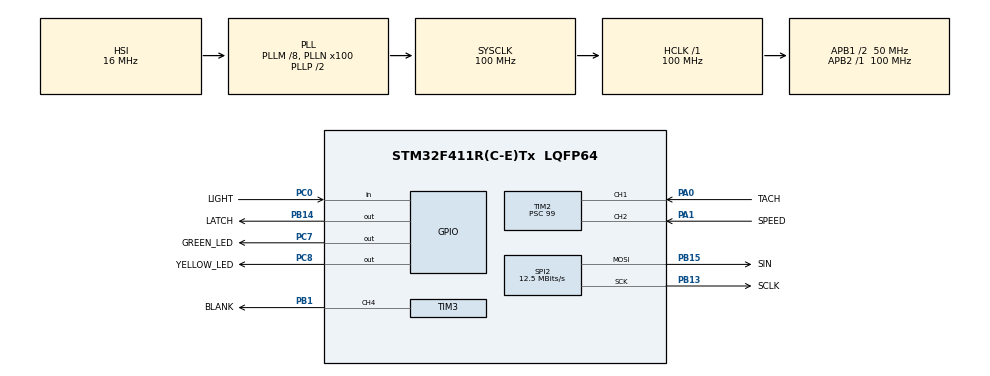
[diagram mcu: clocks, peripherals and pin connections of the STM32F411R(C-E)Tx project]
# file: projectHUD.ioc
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FREERTOS.Queues01=displayQueue,4,uint32_t,0,Dynamic,NULL,NULL
FREERTOS.Tasks01=inputTask,24,1024,StartInputTask,Default,NULL,Dynamic,NULL,NULL;displayTask,16,1024,StartDisplayTask,Default,NULL,Dynamic,NULL,NULL
FREERTOS.configUSE_NEWLIB_REENTRANT=1
Mcu.Family=STM32F4
Mcu.Name=STM32F411R(C-E)Tx
Mcu.Package=LQFP64
NVIC.PriorityGroup=NVIC_PRIORITYGROUP_4
NVIC.TIM1_TRG_COM_TIM11_IRQn=true\:15\:0\:false\:false\:true\:false\:false\:true\:true
NVIC.TIM2_IRQn=true\:5\:0\:false\:false\:true\:true\:true\:true\:true
NVIC.TimeBase=TIM1_TRG_COM_TIM11_IRQn
NVIC.TimeBaseIP=TIM11
PA0-WKUP.GPIO_Label=TACH
PA0-WKUP.GPIO_PuPd=GPIO_PULLUP
PA0-WKUP.Signal=S_TIM2_CH1_ETR
PA1.GPIO_Label=SPEED
PA1.GPIO_PuPd=GPIO_PULLUP
PA1.Signal=S_TIM2_CH2
PA13.GPIO_Label=SWDIO
PA13.Mode=Trace_Asynchronous_SW
PA13.Signal=SYS_JTMS-SWDIO
PA14.GPIO_Label=SWCLK
PA14.Mode=Trace_Asynchronous_SW
PA14.Signal=SYS_JTCK-SWCLK
PB1.GPIO_Label=BLANK
PB1.GPIO_PuPd=GPIO_PULLUP
PB1.Signal=S_TIM3_CH4
PB13.GPIO_Label=SCLK
PB13.Mode=TX_Only_Simplex_Unidirect_Master
PB13.Signal=SPI2_SCK
PB14.GPIO_Label=LATCH
PB14.Signal=GPIO_Output
PB15.GPIO_Label=SIN
PB15.Mode=TX_Only_Simplex_Unidirect_Master
PB15.Signal=SPI2_MOSI
PB3.GPIO_Label=SWO
PB3.Mode=Trace_Asynchronous_SW
PB3.Signal=SYS_JTDO-SWO
PC0.GPIO_Label=LIGHT
PC0.GPIO_PuPd=GPIO_PULLUP
PC0.Signal=GPIO_Input
PC7.GPIO_Label=GREEN_LED
PC7.PinState=GPIO_PIN_RESET
PC7.Signal=GPIO_Output
PC8.GPIO_Label=YELLOW_LED
PC8.Signal=GPIO_Output
ProjectManager.HeapSize=0x200
ProjectManager.StackSize=0x400
ProjectManager.TargetToolchain=STM32CubeIDE
RCC.48MHZClocksFreq_Value=50000000
RCC.AHBFreq_Value=100000000
RCC.APB1CLKDivider=RCC_HCLK_DIV2
RCC.APB1Freq_Value=50000000
RCC.APB1TimFreq_Value=100000000
RCC.APB2Freq_Value=100000000
RCC.APB2TimFreq_Value=100000000
RCC.CortexFreq_Value=100000000
RCC.HCLKFreq_Value=100000000
RCC.HSE_VALUE=25000000
RCC.HSI_VALUE=16000000
RCC.LSE_VALUE=32768
RCC.PLLM=8
RCC.PLLN=100
RCC.SYSCLKFreq_VALUE=100000000
RCC.SYSCLKSource=RCC_SYSCLKSOURCE_PLLCLK
RCC.VCOOutputFreq_Value=200000000
SH.S_TIM2_CH1_ETR.0=TIM2_CH1,Input_Capture1_from_TI1
SH.S_TIM2_CH2.0=TIM2_CH2,Input_Capture2_from_TI2
SH.S_TIM3_CH4.0=TIM3_CH4,PWM Generation4 CH4
SPI2.BaudRatePrescaler=SPI_BAUDRATEPRESCALER_4
SPI2.CalculateBaudRate=12.5 MBits/s
SPI2.Direction=SPI_DIRECTION_2LINES
SPI2.Mode=SPI_MODE_MASTER
SPI2.VirtualType=VM_MASTER
TIM2.Channel-Input_Capture1_from_TI1=TIM_CHANNEL_1
TIM2.Channel-Input_Capture2_from_TI2=TIM_CHANNEL_2
TIM2.ICFilter_CH1=0x0F
TIM2.ICFilter_CH2=0x0F
TIM2.Period=0xFFFFFFFF
TIM2.Prescaler=99
TIM3.Channel-PWM\ Generation4\ CH4=TIM_CHANNEL_4
TIM3.Period=3999
TIM3.Prescaler=0
VP_FREERTOS_VS_CMSIS_V2.Mode=CMSIS_V2
VP_SYS_VS_tim11.Mode=TIM11
VP_TIM2_VS_ClockSourceINT.Mode=Internal
VP_TIM3_VS_ClockSourceINT.Mode=Internal
board=custom

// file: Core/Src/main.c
/* USER CODE BEGIN Header */
/**
  ******************************************************************************
  * @file           : main.c
  * @brief          : Main program body
  ******************************************************************************
  * @attention
  *
  * Copyright (c) 2026 STMicroelectronics.
  * All rights reserved.
  *
  * This software is licensed under terms that can be found in the LICENSE file
  * in the root directory of this software component.
  * If no LICENSE file comes with this software, it is provided AS-IS.
  *
  ******************************************************************************
  */
/* USER CODE END Header */
#include "main.h"
#include "cmsis_os.h"

/* USER CODE BEGIN Includes */
#include <math.h>
#include <stdlib.h>

/* USER CODE END Includes */

/* USER CODE BEGIN PD */
#define MOVING_AVG_ELEMENTS 10
// input processing constants
#define PERIOD_TIMEOUT 1000000UL // maximum period of 1 second between pulses
#define PERIOD_DEBOUNCE 100000UL // debounce amount for deadband; 10% of timeout period
#define TACH_MAX_PERIOD 100000UL // min 300 RPM
#define SPEED_MAX_PERIOD 725159UL // min 2 km/h speed
#define SPEED_HYST 0.8f // speed deadband: output value is sticky within ±0.7 km/h
#define TACH_HYST 60 // tach deadband: output value is sticky within ±60 RPM
#define UPPER_PERIOD 50000UL // pulse periods above this -> 1 sample (fast response)
#define LOWER_PERIOD 10000UL // pulse periods below this -> 10 samples (heavy filtering)

// display constants
#define DISPLAY_ORIENTATION 1 // 0 = normal display orientation, 1 = flipped
#define TLC_CHANNELS 48 // two daisy-chained TLC5947s, 24 channels each
#define TLC_BYTES 72 // 48 channels x 12 bits / 8
#define BLANK_DIGIT 10 // index into segment table for a blank digit
#define PWM_BRIGHT 80 // BLANK duty for high brightness
#define PWM_DARK 4.5 // BLANK duty for reduced brightness
#define NUM_SEGMENTS 7 // 7 segments per display
#define NUM_DIGITS 5 // 3 for speed, 2 for tach
#define PWM_PERIOD 4000 // 25 KHz PWM

#define PWM_DUTY(pct) ((uint32_t)(pct) * (PWM_PERIOD / 100)) // convert percent to timer period

// frame passed from input task to display task, packed into one 32-bit queue item
// bits 0-9: speed, bits 10-16: rpm hundreds, bit 17: night flag
#define FRAME_PACK(spd, rpm, night) (((uint32_t)(night) << 17) | ((uint32_t)(rpm) << 10) | (spd))
#define FRAME_SPEED(f) ((f) & 0x3FF)
#define FRAME_RPM(f) (((f) >> 10) & 0x7F)
#define FRAME_DARK(f) (((f) >> 17) & 1)

/* USER CODE END PD */

SPI_HandleTypeDef hspi2;

TIM_HandleTypeDef htim2;
TIM_HandleTypeDef htim3;

/* Definitions for inputTask */
osThreadId_t inputTaskHandle;
const osThreadAttr_t inputTask_attributes = {
  .name = "inputTask",
  .stack_size = 1024 * 4,
  .priority = (osPriority_t) osPriorityNormal,
};
/* Definitions for displayTask */
osThreadId_t displayTaskHandle;
const osThreadAttr_t displayTask_attributes = {
  .name = "displayTask",
  .stack_size = 1024 * 4,
  .priority = (osPriority_t) osPriorityBelowNormal,
};
/* Definitions for displayQueue */
osMessageQueueId_t displayQueueHandle;
const osMessageQueueAttr_t displayQueue_attributes = {
  .name = "displayQueue"
};
/* USER CODE BEGIN PV */
volatile uint32_t prevTachCaptureValue = 0;
volatile uint32_t tachPeriods[MOVING_AVG_ELEMENTS]; // circular buffer of pulse periods in µs
volatile uint8_t tachIdx = 0;

volatile uint32_t prevSpeedCaptureValue = 0;
volatile uint32_t speedPeriods[MOVING_AVG_ELEMENTS];
volatile uint8_t speedIdx = 0;

// bit order (dp)gfedcba, bit 0 = segment a
// row = display positions 0-4, column = number 0-9 + blank number
// positions 2 & 3 (displays 3 & 4) are physically rotated 180° - hard coded into tables
// normal orientation lookup table
static const uint8_t SEG_NORMAL[11] = {
  0x3F,0x30,0x5B,0x79,0x74,0x6D,0x6F,0x38,0x7F,0x7D,0x00 // rotated 180
};

// windshield orientation lookup table
static const uint8_t SEG_FLIPPED[11] = {
  0x3F,0x30,0x6D,0x79,0x72,0x5B,0x5F,0x31,0x7F,0x7B,0x00 // rotated 180 + vertically flipped
};

// first global TLC channel of each digit, from schematic:
// U7 = channels 0-23 (speed), U8 = channels 24-47 (tach)
// digit 0-2 = LED1-LED3 (speed hundreds, tens, ones), digit 3-4 = LED4-LED5 (rpm)
static const uint8_t DIGIT_BASE[NUM_DIGITS] = {0, 8, 16, 24, 32};
/* USER CODE END PV */

void SystemClock_Config(void);
static void MX_GPIO_Init(void);
static void MX_SPI2_Init(void);
static void MX_TIM2_Init(void);
static void MX_TIM3_Init(void);
void StartInputTask(void *argument);
void StartDisplayTask(void *argument);

/* USER CODE BEGIN 0 */
// maps the most recent pulse period to an variable window size. period >= 50 ms -> 1 sample, period <= 10 ms -> 10 samples, linear in between
static uint8_t getWindowFromPeriod(uint32_t period) {
	if (period >= UPPER_PERIOD) return 1;
	if (period <= LOWER_PERIOD) return MOVING_AVG_ELEMENTS;
	// linear interpolation, maps period to a number from 1 to 10 based on its value compared to upper and lower period
	return (uint8_t)((((UPPER_PERIOD - period) * (MOVING_AVG_ELEMENTS - 1)) / (UPPER_PERIOD - LOWER_PERIOD)) + 1);
}

void HAL_TIM_IC_CaptureCallback(TIM_HandleTypeDef *htim) {
	if (htim->Channel == HAL_TIM_ACTIVE_CHANNEL_1) {
		// read current timer value (triggered on a GPIO edge)
		uint32_t tachCaptureValue = HAL_TIM_ReadCapturedValue(htim, TIM_CHANNEL_1);
		uint32_t delta = tachCaptureValue - prevTachCaptureValue;
		// clamp first pulse after idling for a while
		if (delta > PERIOD_TIMEOUT) delta = PERIOD_TIMEOUT;
		// circular buffer, replaces oldest period with most recent
		tachPeriods[tachIdx] = delta;
		// increment tachIdx, wrap back to 0 if it reaches 10
		tachIdx = (tachIdx + 1) % MOVING_AVG_ELEMENTS;
		// refresh value
		prevTachCaptureValue = tachCaptureValue;
		HAL_GPIO_TogglePin(GPIOC, YELLOW_LED_Pin); // blinky
	}
	if (htim->Channel == HAL_TIM_ACTIVE_CHANNEL_2) {
		// read current timer value (triggered on a GPIO edge)
		uint32_t speedCaptureValue = HAL_TIM_ReadCapturedValue(htim, TIM_CHANNEL_2);
		uint32_t delta = speedCaptureValue - prevSpeedCaptureValue;
		// clamp first pulse after idling for a while
		if (delta > PERIOD_TIMEOUT) delta = PERIOD_TIMEOUT;
		speedPeriods[speedIdx] = delta;
		// increment speedIdx, wrap back to 0 if it reaches 10
		speedIdx = (speedIdx + 1) % MOVING_AVG_ELEMENTS;
		// refresh value
		prevSpeedCaptureValue = speedCaptureValue;
		HAL_GPIO_TogglePin(GPIOC, GREEN_LED_Pin); // blinky
	}
}
/* USER CODE END 0 */

int main(void)
{

  /* MCU Configuration--------------------------------------------------------*/

  /* Reset of all peripherals, Initializes the Flash interface and the Systick. */
  HAL_Init();

  /* Configure the system clock */
  SystemClock_Config();

  /* Initialize all configured peripherals */
  MX_GPIO_Init();
  MX_SPI2_Init();
  MX_TIM2_Init();
  MX_TIM3_Init();
  /* USER CODE BEGIN 2 */
  // set periods to infinity on boot
  for (uint8_t i = 0; i < MOVING_AVG_ELEMENTS; i++) {
	  tachPeriods[i] = PERIOD_TIMEOUT;
	  speedPeriods[i] = PERIOD_TIMEOUT;
  }
  HAL_TIM_IC_Start_IT(&htim2, TIM_CHANNEL_1); // start input capture for tach input
  HAL_TIM_IC_Start_IT(&htim2, TIM_CHANNEL_2); // start input capture for speed input
  HAL_TIM_PWM_Start(&htim3, TIM_CHANNEL_4); // start PWM output on BLANK pin
  /* USER CODE END 2 */

  /* Init scheduler */
  osKernelInitialize();

  /* Create the queue(s) */
  /* creation of displayQueue */
  displayQueueHandle = osMessageQueueNew (4, sizeof(uint32_t), &displayQueue_attributes);

  /* Create the thread(s) */
  /* creation of inputTask */
  inputTaskHandle = osThreadNew(StartInputTask, NULL, &inputTask_attributes);

  /* creation of displayTask */
  displayTaskHandle = osThreadNew(StartDisplayTask, NULL, &displayTask_attributes);

  /* Start scheduler */
  osKernelStart();

  /* We should never get here as control is now taken by the scheduler */

  /* Infinite loop */
  while (1)
  {

  }
}

void SystemClock_Config(void)
{
  RCC_OscInitTypeDef RCC_OscInitStruct = {0};
  RCC_ClkInitTypeDef RCC_ClkInitStruct = {0};

  /** Configure the main internal regulator output voltage
  */
  __HAL_RCC_PWR_CLK_ENABLE();
  __HAL_PWR_VOLTAGESCALING_CONFIG(PWR_REGULATOR_VOLTAGE_SCALE1);

  /** Initializes the RCC Oscillators according to the specified parameters
  * in the RCC_OscInitTypeDef structure.
  */
  RCC_OscInitStruct.OscillatorType = RCC_OSCILLATORTYPE_HSI;
  RCC_OscInitStruct.HSIState = RCC_HSI_ON;
  RCC_OscInitStruct.HSICalibrationValue = RCC_HSICALIBRATION_DEFAULT;
  RCC_OscInitStruct.PLL.PLLState = RCC_PLL_ON;
  RCC_OscInitStruct.PLL.PLLSource = RCC_PLLSOURCE_HSI;
  RCC_OscInitStruct.PLL.PLLM = 8;
  RCC_OscInitStruct.PLL.PLLN = 100;
  RCC_OscInitStruct.PLL.PLLP = RCC_PLLP_DIV2;
  RCC_OscInitStruct.PLL.PLLQ = 4;
  if (HAL_RCC_OscConfig(&RCC_OscInitStruct) != HAL_OK)
  {
    Error_Handler();
  }

  /** Initializes the CPU, AHB and APB buses clocks
  */
  RCC_ClkInitStruct.ClockType = RCC_CLOCKTYPE_HCLK|RCC_CLOCKTYPE_SYSCLK
                              |RCC_CLOCKTYPE_PCLK1|RCC_CLOCKTYPE_PCLK2;
  RCC_ClkInitStruct.SYSCLKSource = RCC_SYSCLKSOURCE_PLLCLK;
  RCC_ClkInitStruct.AHBCLKDivider = RCC_SYSCLK_DIV1;
  RCC_ClkInitStruct.APB1CLKDivider = RCC_HCLK_DIV2;
  RCC_ClkInitStruct.APB2CLKDivider = RCC_HCLK_DIV1;

  if (HAL_RCC_ClockConfig(&RCC_ClkInitStruct, FLASH_LATENCY_3) != HAL_OK)
  {
    Error_Handler();
  }
}

static void MX_SPI2_Init(void)
{

  /* SPI2 parameter configuration*/
  hspi2.Instance = SPI2;
  hspi2.Init.Mode = SPI_MODE_MASTER;
  hspi2.Init.Direction = SPI_DIRECTION_2LINES;
  hspi2.Init.DataSize = SPI_DATASIZE_8BIT;
  hspi2.Init.CLKPolarity = SPI_POLARITY_LOW;
  hspi2.Init.CLKPhase = SPI_PHASE_1EDGE;
  hspi2.Init.NSS = SPI_NSS_SOFT;
  hspi2.Init.BaudRatePrescaler = SPI_BAUDRATEPRESCALER_4;
  hspi2.Init.FirstBit = SPI_FIRSTBIT_MSB;
  hspi2.Init.TIMode = SPI_TIMODE_DISABLE;
  hspi2.Init.CRCCalculation = SPI_CRCCALCULATION_DISABLE;
  hspi2.Init.CRCPolynomial = 10;
  if (HAL_SPI_Init(&hspi2) != HAL_OK)
  {
    Error_Handler();
  }

}

static void MX_TIM2_Init(void)
{

  TIM_ClockConfigTypeDef sClockSourceConfig = {0};
  TIM_MasterConfigTypeDef sMasterConfig = {0};
  TIM_IC_InitTypeDef sConfigIC = {0};

  htim2.Instance = TIM2;
  htim2.Init.Prescaler = 99;
  htim2.Init.CounterMode = TIM_COUNTERMODE_UP;
  htim2.Init.Period = 0xFFFFFFFF;
  htim2.Init.ClockDivision = TIM_CLOCKDIVISION_DIV1;
  htim2.Init.AutoReloadPreload = TIM_AUTORELOAD_PRELOAD_DISABLE;
  if (HAL_TIM_Base_Init(&htim2) != HAL_OK)
  {
    Error_Handler();
  }
  sClockSourceConfig.ClockSource = TIM_CLOCKSOURCE_INTERNAL;
  if (HAL_TIM_ConfigClockSource(&htim2, &sClockSourceConfig) != HAL_OK)
  {
    Error_Handler();
  }
  if (HAL_TIM_IC_Init(&htim2) != HAL_OK)
  {
    Error_Handler();
  }
  sMasterConfig.MasterOutputTrigger = TIM_TRGO_RESET;
  sMasterConfig.MasterSlaveMode = TIM_MASTERSLAVEMODE_DISABLE;
  if (HAL_TIMEx_MasterConfigSynchronization(&htim2, &sMasterConfig) != HAL_OK)
  {
    Error_Handler();
  }
  sConfigIC.ICPolarity = TIM_INPUTCHANNELPOLARITY_RISING;
  sConfigIC.ICSelection = TIM_ICSELECTION_DIRECTTI;
  sConfigIC.ICPrescaler = TIM_ICPSC_DIV1;
  sConfigIC.ICFilter = 0x0F;
  if (HAL_TIM_IC_ConfigChannel(&htim2, &sConfigIC, TIM_CHANNEL_1) != HAL_OK)
  {
    Error_Handler();
  }
  if (HAL_TIM_IC_ConfigChannel(&htim2, &sConfigIC, TIM_CHANNEL_2) != HAL_OK)
  {
    Error_Handler();
  }

}

static void MX_TIM3_Init(void)
{

  TIM_ClockConfigTypeDef sClockSourceConfig = {0};
  TIM_MasterConfigTypeDef sMasterConfig = {0};
  TIM_OC_InitTypeDef sConfigOC = {0};

  htim3.Instance = TIM3;
  htim3.Init.Prescaler = 0;
  htim3.Init.CounterMode = TIM_COUNTERMODE_UP;
  htim3.Init.Period = 3999;
  htim3.Init.ClockDivision = TIM_CLOCKDIVISION_DIV1;
  htim3.Init.AutoReloadPreload = TIM_AUTORELOAD_PRELOAD_DISABLE;
  if (HAL_TIM_Base_Init(&htim3) != HAL_OK)
  {
    Error_Handler();
  }
  sClockSourceConfig.ClockSource = TIM_CLOCKSOURCE_INTERNAL;
  if (HAL_TIM_ConfigClockSource(&htim3, &sClockSourceConfig) != HAL_OK)
  {
    Error_Handler();
  }
  if (HAL_TIM_PWM_Init(&htim3) != HAL_OK)
  {
    Error_Handler();
  }
  sMasterConfig.MasterOutputTrigger = TIM_TRGO_RESET;
  sMasterConfig.MasterSlaveMode = TIM_MASTERSLAVEMODE_DISABLE;
  if (HAL_TIMEx_MasterConfigSynchronization(&htim3, &sMasterConfig) != HAL_OK)
  {
    Error_Handler();
  }
  sConfigOC.OCMode = TIM_OCMODE_PWM1;
  sConfigOC.Pulse = 0;
  sConfigOC.OCPolarity = TIM_OCPOLARITY_HIGH;
  sConfigOC.OCFastMode = TIM_OCFAST_DISABLE;
  if (HAL_TIM_PWM_ConfigChannel(&htim3, &sConfigOC, TIM_CHANNEL_4) != HAL_OK)
  {
    Error_Handler();
  }
  HAL_TIM_MspPostInit(&htim3);

}

static void MX_GPIO_Init(void)
{
  GPIO_InitTypeDef GPIO_InitStruct = {0};

  /* GPIO Ports Clock Enable */
  __HAL_RCC_GPIOC_CLK_ENABLE();
  __HAL_RCC_GPIOA_CLK_ENABLE();
  __HAL_RCC_GPIOB_CLK_ENABLE();

  /*Configure GPIO pin Output Level */
  HAL_GPIO_WritePin(LATCH_GPIO_Port, LATCH_Pin, GPIO_PIN_RESET);

  /*Configure GPIO pin Output Level */
  HAL_GPIO_WritePin(GPIOC, GREEN_LED_Pin|YELLOW_LED_Pin, GPIO_PIN_RESET);

  /*Configure GPIO pin : LIGHT_Pin */
  GPIO_InitStruct.Pin = LIGHT_Pin;
  GPIO_InitStruct.Mode = GPIO_MODE_INPUT;
  GPIO_InitStruct.Pull = GPIO_PULLUP;
  HAL_GPIO_Init(LIGHT_GPIO_Port, &GPIO_InitStruct);

  /*Configure GPIO pin : LATCH_Pin */
  GPIO_InitStruct.Pin = LATCH_Pin;
  GPIO_InitStruct.Mode = GPIO_MODE_OUTPUT_PP;
  GPIO_InitStruct.Pull = GPIO_NOPULL;
  GPIO_InitStruct.Speed = GPIO_SPEED_FREQ_LOW;
  HAL_GPIO_Init(LATCH_GPIO_Port, &GPIO_InitStruct);

  /*Configure GPIO pins : GREEN_LED_Pin YELLOW_LED_Pin */
  GPIO_InitStruct.Pin = GREEN_LED_Pin|YELLOW_LED_Pin;
  GPIO_InitStruct.Mode = GPIO_MODE_OUTPUT_PP;
  GPIO_InitStruct.Pull = GPIO_NOPULL;
  GPIO_InitStruct.Speed = GPIO_SPEED_FREQ_LOW;
  HAL_GPIO_Init(GPIOC, &GPIO_InitStruct);

}

void StartInputTask(void *argument)
{
  /* USER CODE BEGIN 5 */
	const uint8_t PULSE_PER_REV = 2; // tachometer pulses per crankshaft revolution
	const float PULSE_PER_KILO = 2482.215342f; // calculated from 72158 pulses / 29.07 km
	const uint16_t RPM_LIMIT = 6500; // 6500 RPM engine redline
	const float SPEED_LIMIT = 200.0f; // 200 km/h max speed on this display
	const uint32_t MICROS_PER_SEC = 1000000;
	const uint8_t SEC_PER_MIN = 60;
	const uint16_t SEC_PER_HOUR = 3600;

	uint32_t tachOutput = 0;
	uint32_t speedOutput = 0;
	uint32_t tachTimeoutDebounce = 0;
	uint32_t speedTimeoutDebounce = 0;

  /* Infinite loop */
  for(;;)
{
	uint32_t frame = 0; // stores this loop's frame data
	uint32_t tachAverage = 0;
	uint32_t speedAverage = 0;
	uint8_t isDark = 0; // headlights on/off flag
	uint8_t isTachZero = 0;
	uint8_t isSpeedZero = 0;

	// save a local copy of the volatile indices from the ISR (in case it changes mid loop)
	uint8_t tachIdxTemp = tachIdx;
	uint8_t speedIdxTemp = speedIdx;
	// get the latest period reading from the ISR, it's one element behind the current index. modulo to reset back to 0 if >9
	uint32_t tachLatestPeriod = tachPeriods[(tachIdxTemp + MOVING_AVG_ELEMENTS - 1) % MOVING_AVG_ELEMENTS];
	uint32_t speedLatestPeriod = speedPeriods[(speedIdxTemp + MOVING_AVG_ELEMENTS - 1) % MOVING_AVG_ELEMENTS];
	// get window size based on most recent period
	uint8_t tachWindowSize = getWindowFromPeriod(tachLatestPeriod);
	uint8_t speedWindowSize = getWindowFromPeriod(speedLatestPeriod);

	// average only the most recent x samples, averaging backwards in the array from the current temp index
	for (uint8_t windowIncrement = 0; windowIncrement < tachWindowSize; windowIncrement++) {
		// get period of each element of tachPeriods[] array and sum into average, starting at temp index and working backwards
		// index sweeps between 0 and 18, modulo loops it to 0 and 9
		uint32_t currentPeriod = tachPeriods[(tachIdxTemp + MOVING_AVG_ELEMENTS - 1 - windowIncrement) % MOVING_AVG_ELEMENTS];
		tachAverage += currentPeriod;
	}
	for (uint8_t windowIncrement = 0; windowIncrement < speedWindowSize; windowIncrement++) {
		// get period of each element of speedPeriods[] array and sum into average, starting at temp index and working backwards
		// index sweeps between 0 and 18, modulo loops it to 0 and 9
		uint32_t currentPeriod = speedPeriods[(speedIdxTemp + MOVING_AVG_ELEMENTS - 1 - windowIncrement) % MOVING_AVG_ELEMENTS];
		speedAverage += currentPeriod;
	}
	// average sums over the active window
	tachAverage /= tachWindowSize;
	speedAverage /= speedWindowSize;

	// set output to zero at low enough speeds
	// get current timer value
	uint32_t currentTime = __HAL_TIM_GET_COUNTER(&htim2);
	// if period is large enough, set display to output zero
	if ((currentTime - prevTachCaptureValue) > (PERIOD_TIMEOUT - tachTimeoutDebounce)) {
		isTachZero = 1;
		// include a debounce so the value doesn't jump between 0 and a number when the period is right on the threshold
		tachTimeoutDebounce = PERIOD_DEBOUNCE;
		// load entire array with a PERIOD_TIMEOUT; means when restarting at a low speed, the value doesn't jump up randomly before settling
		for (uint8_t i = 0; i < MOVING_AVG_ELEMENTS; i++) tachPeriods[i] = PERIOD_TIMEOUT;
	} else { // otherwise resume normal operation
		isTachZero = 0;
		tachTimeoutDebounce = 0;
	}
	// if period is large enough, set display to output zero
	if ((currentTime - prevSpeedCaptureValue) > (PERIOD_TIMEOUT - speedTimeoutDebounce)) {
		isSpeedZero = 1;
		// include a debounce so the value doesn't jump between 0 and a number when the period is right on the threshold
		speedTimeoutDebounce = PERIOD_DEBOUNCE;
		// load entire array with a PERIOD_TIMEOUT; means when restarting at a low speed, the value doesn't jump up randomly before settling
		for (uint8_t i = 0; i < MOVING_AVG_ELEMENTS; i++) speedPeriods[i] = PERIOD_TIMEOUT;
	} else { // otherwise resume normal operation
		isSpeedZero = 0;
		speedTimeoutDebounce = 0;
	}

	// protect against divide by zero
	if (tachAverage == 0) tachAverage = 1;
	if (speedAverage == 0) speedAverage = 1;

	// tach calculation: (µs/min) / (µs/pulse × pulse/rotation) = rotations/min
	uint32_t tachRaw = ((SEC_PER_MIN * MICROS_PER_SEC) / (tachAverage * PULSE_PER_REV));
	// speed calculation: (µs/hour) / (µs/pulse × pulses/km) = km/h
	float speedRaw = (float)(SEC_PER_HOUR * MICROS_PER_SEC) / ((float)speedAverage * PULSE_PER_KILO);

	// if flagged as zero or if average is more than max period, set output to 0
	if (isTachZero || (tachAverage > TACH_MAX_PERIOD)) {
		tachOutput = 0;
	} else if (tachRaw < RPM_LIMIT) { // if normal operating condition:
		// display hysteresis: displayed value only re-rounds once raw value exits TACH_HYST threshold
		uint32_t tachDiff = labs((int32_t)tachRaw - (int32_t)tachOutput);
		if (tachDiff >= TACH_HYST) {
			tachOutput = ((tachRaw + 50) / 100) * 100; // round to nearest hundred; +50 ensures nearest hundred rather than floor
		}
	} else { // clamp at max value if beyond it
		tachOutput = RPM_LIMIT;
	}
	// if flagged as zero or if average is more than max period, set output to 0
	if (isSpeedZero || (speedAverage > SPEED_MAX_PERIOD)) {
		speedOutput = 0;
	} else if (speedRaw < SPEED_LIMIT) {
		// display hysteresis: displayed value only re-rounds once raw value exits SPEED_HYST threshold
		float speedDiff = fabsf(speedRaw - (float)speedOutput);
		if (speedDiff >= SPEED_HYST) {
			speedOutput = (uint32_t)(speedRaw + 0.5f); // +0.5f ensures nearest ones digit rather than floor
		}
	} else { // clamp at max value if beyond it
		speedOutput = (uint32_t)SPEED_LIMIT;
	}

	// headlight input is low when headlights are on -> dim LEDs by triggering isDark flag
	isDark = (HAL_GPIO_ReadPin(LIGHT_GPIO_Port, LIGHT_Pin) == GPIO_PIN_RESET);

	// assemble frame
	frame = FRAME_PACK(speedOutput, (tachOutput / 100), isDark);
	// set frame to 0 if displayQueue is full
	osMessageQueuePut(displayQueueHandle, &frame, 0, 0);
    osDelay(50); // 20 Hz
  }
  /* USER CODE END 5 */
}

void StartDisplayTask(void *argument)
{
  /* USER CODE BEGIN StartDisplayTask */
	uint32_t frame = 0;
	uint16_t speed = 0;
	uint16_t rpm = 0;
	uint8_t segState[TLC_CHANNELS] = {0}; // array containing on/off state of every TLC output
	uint8_t digits[NUM_DIGITS] = {0}; // array containing value 0 to 9 of each digit
	uint8_t tlcBuffer[TLC_BYTES] = {0};

  /* Infinite loop */
  for(;;)
  {
	// wait for new frame update from inputTask. once arrived, load into frame variable and continue
	if (osMessageQueueGet(displayQueueHandle, &frame, NULL, osWaitForever) != osOK) {
		continue;
	}
	// extract speed and rpm from latest frame
	speed = FRAME_SPEED(frame);
	rpm = FRAME_RPM(frame);
	// extract isDark flag from frame. output PWM to timer ch.4 which is connected to BLANK. if isDark flag is true, output PWM_DARK, and vice versa
	__HAL_TIM_SET_COMPARE(&htim3, TIM_CHANNEL_4, FRAME_DARK(frame) ? PWM_DUTY(100 - PWM_DARK) : PWM_DUTY(100 - PWM_BRIGHT));

	// process each number for each digit with leading zero blanking
	digits[0] = (speed >= 100) ? (speed / 100) : BLANK_DIGIT;
	digits[1] = (speed >= 10) ? ((speed / 10) % 10) : BLANK_DIGIT;
	digits[2] = speed % 10;
	digits[3] = rpm / 10;   // no blanked leading zero for tach
	digits[4] = rpm % 10;

	// select table to use based on DISPLAY_ORIENTATION
	const uint8_t *segTable = (DISPLAY_ORIENTATION == 0) ? SEG_NORMAL : SEG_FLIPPED;

	for (int8_t digitIndex = 0; digitIndex < NUM_DIGITS; digitIndex++) {
		// digits[digitIndex] gets current number loaded in that digit
		uint8_t segments = segTable[digits[digitIndex]];
		for (int8_t segIndex = 0; segIndex < NUM_SEGMENTS; segIndex++) {
			segState[DIGIT_BASE[digitIndex] + segIndex] = (segments >> segIndex) & 1;
		}
	}
	// always on decimal point for last display for tach (eg. 3.5 instead of 35 * 100 RPM)
	segState[DIGIT_BASE[NUM_DIGITS - 1] + NUM_SEGMENTS] = 1;

	// tlc5947 takes 12 bits per channel, with the 12-bit value indicating its brightness
	// since global PWM dimming is used, segments are either full-on or full-off (0xFFF or 0x000)
	// display data is uint8_t, so an 8-bit input needs to be converted to a 12-bit output
	// if seg1 is on and seg2 is off: (0xFFF + 0x000) which is split into (FF F0 00) and merged into -> 0xFFF000
	// iterate in pairs
	for (int8_t currentPair = 0; currentPair < TLC_CHANNELS; currentPair += 2) {
		uint8_t firstChannel = segState[TLC_CHANNELS - currentPair - 1]; // first channel of the pair, upper 12 bits
		uint8_t secondChannel = segState[TLC_CHANNELS - currentPair - 2]; // second channel of the pair, lower 12 bits
		// get first byte position in tlcBuffer, if segState is high for that bit, set the next 8 bits to FF, otherwise, set to 0
		tlcBuffer[(currentPair / 2) * 3] = firstChannel ? 0xFF : 0x00;
		// get second byte position. if segState of first channel is 1, set bottom half of buffer to 0xF0, and vice versa
		// do the same for the second channel on the top half
		tlcBuffer[(currentPair / 2) * 3 + 1] = (firstChannel ? 0xF0 : 0x00) | (secondChannel ? 0x0F : 0x00);
		// get third byte position, do same as previous steps for second channel
		tlcBuffer[(currentPair / 2) * 3 + 2] = secondChannel ? 0xFF : 0x00;
	}

	// shift out frame to tlc5947 driver via SPI
	HAL_SPI_Transmit(&hspi2, tlcBuffer, TLC_BYTES, HAL_MAX_DELAY);
	// toggle latch to load message frame into display drivers
	HAL_GPIO_WritePin(LATCH_GPIO_Port, LATCH_Pin, GPIO_PIN_SET);
	HAL_GPIO_WritePin(LATCH_GPIO_Port, LATCH_Pin, GPIO_PIN_RESET);

//    osDelay(1); // no need for osDelay as message is already blocked
  }
  /* USER CODE END StartDisplayTask */
}

void HAL_TIM_PeriodElapsedCallback(TIM_HandleTypeDef *htim)
{
  if (htim->Instance == TIM11)
  {
    HAL_IncTick();
  }
}

void Error_Handler(void)
{
  __disable_irq();
  while (1)
  {
  }
}
